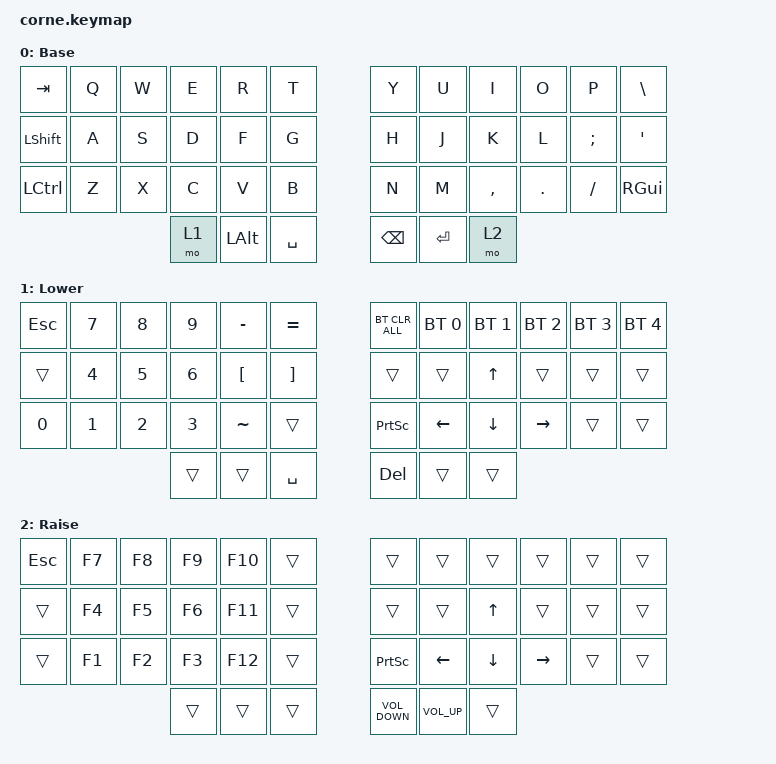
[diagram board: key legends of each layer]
/*
 * Copyright (c) 2020 The ZMK Contributors
 *
 * SPDX-License-Identifier: MIT
 */

#include <behaviors.dtsi>
#include <dt-bindings/zmk/bt.h>
#include <dt-bindings/zmk/keys.h>

/ {
    keymap {
        compatible = "zmk,keymap";

        default_layer {
            // -----------------------------------------------------------------------------------------
            // |  TAB |  Q  |  W  |  E  |  R  |  T  |   |  Y  |  U   |  I  |  O  |  P  | BKSP |
            // | CTRL |  A  |  S  |  D  |  F  |  G  |   |  H  |  J   |  K  |  L  |  ;  |  '   |
            // | SHFT |  Z  |  X  |  C  |  V  |  B  |   |  N  |  M   |  ,  |  .  |  /  | ESC  |
            //                    | GUI | LWR | SPC |   | ENT | RSE  | ALT |

            display-name = "Base";
            bindings = <
&kp TAB         &kp Q  &kp W  &kp E  &kp R     &kp T        &kp Y          &kp U      &kp I      &kp O    &kp P     &kp BACKSLASH
&kp LEFT_SHIFT  &kp A  &kp S  &kp D  &kp F     &kp G        &kp H          &kp J      &kp K      &kp L    &kp SEMI  &kp SQT
&kp LCTRL       &kp Z  &kp X  &kp C  &kp V     &kp B        &kp N          &kp M      &kp COMMA  &kp DOT  &kp FSLH  &kp RIGHT_GUI
                              &mo 1  &kp LALT  &kp SPACE    &kp BACKSPACE  &kp ENTER  &mo 2
            >;
        };

        lower_layer {
            // -----------------------------------------------------------------------------------------
            // |  TAB |  1  |  2  |  3  |  4  |  5  |   |  6  |  7  |  8  |  9  |  0  | BKSP |
            // | BTCLR| BT1 | BT2 | BT3 | BT4 | BT5 |   | LFT | DWN |  UP | RGT |     |      |
            // | SHFT |     |     |     |     |     |   |     |     |     |     |     |      |
            //                    | GUI |     | SPC |   | ENT |     | ALT |

            display-name = "Lower";
            bindings = <
&kp ESCAPE  &kp N7        &kp N8        &kp N9        &kp MINUS         &kp EQUAL            &bt BT_CLR_ALL   &bt BT_SEL 0  &bt BT_SEL 1  &bt BT_SEL 2  &bt BT_SEL 3  &bt BT_SEL 4
&trans      &kp NUMBER_4  &kp N5        &kp NUMBER_6  &kp LEFT_BRACKET  &kp RIGHT_BRACKET    &trans           &trans        &kp UP        &trans        &trans        &trans
&kp N0      &kp NUMBER_1  &kp NUMBER_2  &kp NUMBER_3  &kp TILDE         &trans               &kp PRINTSCREEN  &kp LEFT      &kp DOWN      &kp RIGHT     &trans        &trans
                                        &trans        &trans            &kp SPACE            &kp DEL          &trans        &trans
            >;
        };

        raise_layer {
            // -----------------------------------------------------------------------------------------
            // |  TAB |  !  |  @  |  #  |  $  |  %  |   |  ^  |  &  |  *  |  (  |  )  | BKSP |
            // | CTRL |     |     |     |     |     |   |  -  |  =  |  [  |  ]  |  \  |  `   |
            // | SHFT |     |     |     |     |     |   |  _  |  +  |  {  |  }  | "|" |  ~   |
            //                    | GUI |     | SPC |   | ENT |     | ALT |

            display-name = "Raise";
            bindings = <
&kp ESCAPE  &kp F7  &kp F8  &kp F9  &kp F10  &trans    &trans             &trans           &trans        &trans     &trans  &trans
&trans      &kp F4  &kp F5  &kp F6  &kp F11  &trans    &trans             &trans           &kp UP_ARROW  &trans     &trans  &trans
&trans      &kp F1  &kp F2  &kp F3  &kp F12  &trans    &kp PRINTSCREEN    &kp LEFT         &kp DOWN      &kp RIGHT  &trans  &trans
                            &trans  &trans   &trans    &kp C_VOLUME_DOWN  &kp C_VOLUME_UP  &trans
            >;
        };
    };
};
